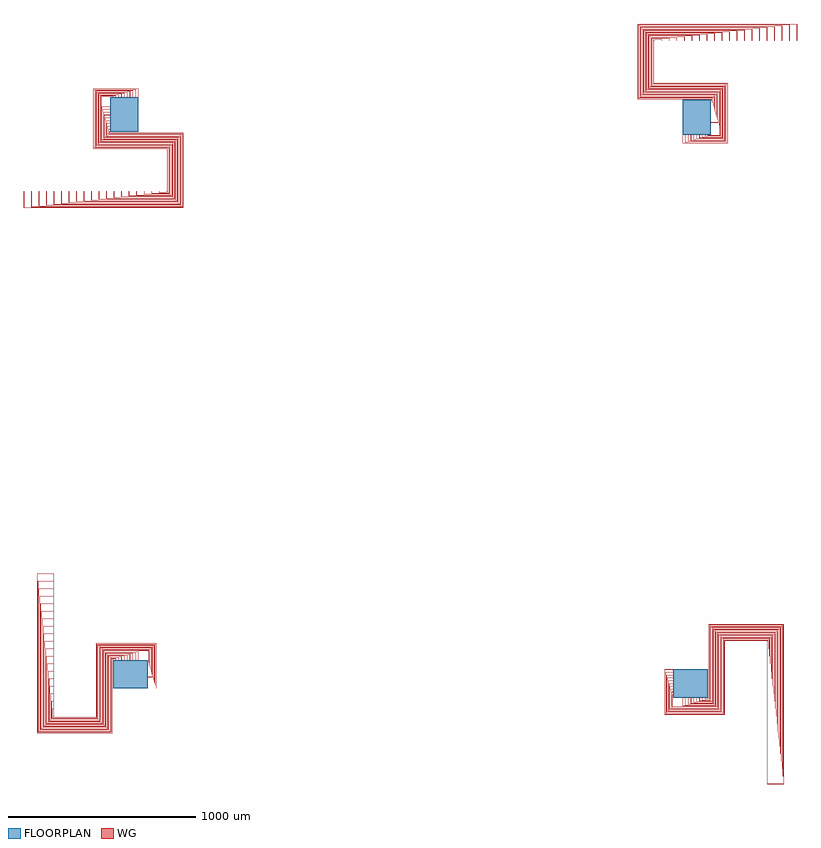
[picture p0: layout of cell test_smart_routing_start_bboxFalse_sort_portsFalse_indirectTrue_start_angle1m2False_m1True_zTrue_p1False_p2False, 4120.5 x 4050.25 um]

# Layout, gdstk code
import gdstk
lib = gdstk.Library(unit=1e-6, precision=1e-09)
def R(c, l, rs):  # rectangles x0, y0, x1, y1
    for r in rs: c.add(gdstk.rectangle(r[:2], r[2:], *l))
def P(c, l, *ps):  # polygons
    for p in ps: c.add(gdstk.Polygon(p, *l))
WG = (1, 0)
FLOORPLAN = (10, 0)

test_smart_routing_start = lib.new_cell('test_smart_routing_start_bboxFalse_sort_portsFalse_indirectTrue_start_angle1m2False_m1True_zTrue_p1False_p2False')
P(test_smart_routing_start, WG, [(-404.5,-204.75),(-404.5,-199.75),(-400,-199.75),(-400,-200.25),(-404,-200.25),(-404,-204.25),(-175.25,-204.25),(-175.25,190),(145,190),(145,-50.25),(100,-50.25),(100,-49.75),(144.5,-49.75),(144.5,189.5),(-174.75,189.5),(-174.75,-204.75)],
  [(-409,-209.25),(-409,-159.75),(-400,-159.75),(-400,-160.25),(-408.5,-160.25),(-408.5,-208.75),(-170.75,-208.75),(-170.75,185.5),(140.5,185.5),(140.5,-35.25),(100,-35.25),(100,-34.75),(140,-34.75),(140,185),(-170.25,185),(-170.25,-209.25)],
  [(-413.5,-213.75),(-413.5,-119.75),(-400,-119.75),(-400,-120.25),(-413,-120.25),(-413,-213.25),(-166.25,-213.25),(-166.25,181),(136,181),(136,-20.25),(100,-20.25),(100,-19.75),(135.5,-19.75),(135.5,180.5),(-165.75,180.5),(-165.75,-213.75)],
  [(-418,-218.25),(-418,-79.75),(-400,-79.75),(-400,-80.25),(-417.5,-80.25),(-417.5,-217.75),(-161.75,-217.75),(-161.75,176.5),(131.5,176.5),(131.5,-5.25),(100,-5.25),(100,-4.75),(131,-4.75),(131,176),(-161.25,176),(-161.25,-218.25)],
  [(-422.5,-222.75),(-422.5,-39.75),(-400,-39.75),(-400,-40.25),(-422,-40.25),(-422,-222.25),(-157.25,-222.25),(-157.25,172),(127,172),(127,9.75),(100,9.75),(100,10.25),(126.5,10.25),(126.5,171.5),(-156.75,171.5),(-156.75,-222.75)],
  [(-427,-227.25),(-427,0.25),(-400,0.25),(-400,-0.25),(-426.5,-0.25),(-426.5,-226.75),(-152.75,-226.75),(-152.75,167.5),(122.5,167.5),(122.5,24.75),(100,24.75),(100,25.25),(122,25.25),(122,167),(-152.25,167),(-152.25,-227.25)],
  [(-431.5,-231.75),(-431.5,40.25),(-400,40.25),(-400,39.75),(-431,39.75),(-431,-231.25),(-148.25,-231.25),(-148.25,163),(118,163),(118,39.75),(100,39.75),(100,40.25),(117.5,40.25),(117.5,162.5),(-147.75,162.5),(-147.75,-231.75)],
  [(-436,-236.25),(-436,80.25),(-400,80.25),(-400,79.75),(-435.5,79.75),(-435.5,-235.75),(-143.75,-235.75),(-143.75,158.5),(113.5,158.5),(113.5,54.75),(100,54.75),(100,55.25),(113,55.25),(113,158),(-143.25,158),(-143.25,-236.25)],
  [(-440.5,-240.75),(-440.5,120.25),(-400,120.25),(-400,119.75),(-440,119.75),(-440,-240.25),(-139.25,-240.25),(-139.25,154),(109,154),(109,69.75),(100,69.75),(100,70.25),(108.5,70.25),(108.5,153.5),(-138.75,153.5),(-138.75,-240.75)],
  [(-445,-245.25),(-445,160.25),(-400,160.25),(-400,159.75),(-444.5,159.75),(-444.5,-244.75),(-134.75,-244.75),(-134.75,149.5),(104.5,149.5),(104.5,84.75),(100,84.75),(100,85.25),(104,85.25),(104,149),(-134.25,149),(-134.25,-245.25)],
  [(-449.5,-249.75),(-449.5,200.25),(-400,200.25),(-400,199.75),(-449,199.75),(-449,-249.25),(-130.25,-249.25),(-130.25,145),(50.25,145),(50.25,100),(49.75,100),(49.75,144.5),(-129.75,144.5),(-129.75,-249.75)],
  [(-454,-254.25),(-454,240.25),(-400,240.25),(-400,239.75),(-453.5,239.75),(-453.5,-253.75),(-125.75,-253.75),(-125.75,140.5),(35.25,140.5),(35.25,100),(34.75,100),(34.75,140),(-125.25,140),(-125.25,-254.25)],
  [(-458.5,-258.75),(-458.5,280.25),(-400,280.25),(-400,279.75),(-458,279.75),(-458,-258.25),(-121.25,-258.25),(-121.25,136),(20.25,136),(20.25,100),(19.75,100),(19.75,135.5),(-120.75,135.5),(-120.75,-258.75)],
  [(-463,-263.25),(-463,320.25),(-400,320.25),(-400,319.75),(-462.5,319.75),(-462.5,-262.75),(-116.75,-262.75),(-116.75,131.5),(5.25,131.5),(5.25,100),(4.75,100),(4.75,131),(-116.25,131),(-116.25,-263.25)],
  [(-467.5,-267.75),(-467.5,360.25),(-400,360.25),(-400,359.75),(-467,359.75),(-467,-267.25),(-112.25,-267.25),(-112.25,127),(-9.75,127),(-9.75,100),(-10.25,100),(-10.25,126.5),(-111.75,126.5),(-111.75,-267.75)],
  [(-472,-272.25),(-472,400.25),(-400,400.25),(-400,399.75),(-471.5,399.75),(-471.5,-271.75),(-107.75,-271.75),(-107.75,122.5),(-24.75,122.5),(-24.75,100),(-25.25,100),(-25.25,122),(-107.25,122),(-107.25,-272.25)],
  [(-476.5,-276.75),(-476.5,440.25),(-400,440.25),(-400,439.75),(-476,439.75),(-476,-276.25),(-103.25,-276.25),(-103.25,118),(-39.75,118),(-39.75,100),(-40.25,100),(-40.25,117.5),(-102.75,117.5),(-102.75,-276.75)],
  [(-481,-281.25),(-481,480.25),(-400,480.25),(-400,479.75),(-480.5,479.75),(-480.5,-280.75),(-98.75,-280.75),(-98.75,113.5),(-54.75,113.5),(-54.75,100),(-55.25,100),(-55.25,113),(-98.25,113),(-98.25,-281.25)],
  [(-485.5,-285.75),(-485.5,520.25),(-400,520.25),(-400,519.75),(-485,519.75),(-485,-285.25),(-94.25,-285.25),(-94.25,109),(-69.75,109),(-69.75,100),(-70.25,100),(-70.25,108.5),(-93.75,108.5),(-93.75,-285.75)],
  [(-490,-290.25),(-490,560.25),(-400,560.25),(-400,559.75),(-489.5,559.75),(-489.5,-289.75),(-89.75,-289.75),(-89.75,104.5),(-84.75,104.5),(-84.75,100),(-85.25,100),(-85.25,104),(-89.25,104),(-89.25,-290.25)],
  [(199.75,2595.5),(199.75,2600),(200.25,2600),(200.25,2596),(204.25,2596),(204.25,2824.75),(-190,2824.75),(-190,3145),(50.25,3145),(50.25,3100),(49.75,3100),(49.75,3144.5),(-189.5,3144.5),(-189.5,2825.25),(204.75,2825.25),(204.75,2595.5)],
  [(159.75,2591),(159.75,2600),(160.25,2600),(160.25,2591.5),(208.75,2591.5),(208.75,2829.25),(-185.5,2829.25),(-185.5,3140.5),(35.25,3140.5),(35.25,3100),(34.75,3100),(34.75,3140),(-185,3140),(-185,2829.75),(209.25,2829.75),(209.25,2591)],
  [(119.75,2586.5),(119.75,2600),(120.25,2600),(120.25,2587),(213.25,2587),(213.25,2833.75),(-181,2833.75),(-181,3136),(20.25,3136),(20.25,3100),(19.75,3100),(19.75,3135.5),(-180.5,3135.5),(-180.5,2834.25),(213.75,2834.25),(213.75,2586.5)],
  [(79.75,2582),(79.75,2600),(80.25,2600),(80.25,2582.5),(217.75,2582.5),(217.75,2838.25),(-176.5,2838.25),(-176.5,3131.5),(5.25,3131.5),(5.25,3100),(4.75,3100),(4.75,3131),(-176,3131),(-176,2838.75),(218.25,2838.75),(218.25,2582)],
  [(39.75,2577.5),(39.75,2600),(40.25,2600),(40.25,2578),(222.25,2578),(222.25,2842.75),(-172,2842.75),(-172,3127),(-9.75,3127),(-9.75,3100),(-10.25,3100),(-10.25,3126.5),(-171.5,3126.5),(-171.5,2843.25),(222.75,2843.25),(222.75,2577.5)],
  [(-0.25,2573),(-0.25,2600),(0.25,2600),(0.25,2573.5),(226.75,2573.5),(226.75,2847.25),(-167.5,2847.25),(-167.5,3122.5),(-24.75,3122.5),(-24.75,3100),(-25.25,3100),(-25.25,3122),(-167,3122),(-167,2847.75),(227.25,2847.75),(227.25,2573)],
  [(-40.25,2568.5),(-40.25,2600),(-39.75,2600),(-39.75,2569),(231.25,2569),(231.25,2851.75),(-163,2851.75),(-163,3118),(-39.75,3118),(-39.75,3100),(-40.25,3100),(-40.25,3117.5),(-162.5,3117.5),(-162.5,2852.25),(231.75,2852.25),(231.75,2568.5)],
  [(-80.25,2564),(-80.25,2600),(-79.75,2600),(-79.75,2564.5),(235.75,2564.5),(235.75,2856.25),(-158.5,2856.25),(-158.5,3113.5),(-54.75,3113.5),(-54.75,3100),(-55.25,3100),(-55.25,3113),(-158,3113),(-158,2856.75),(236.25,2856.75),(236.25,2564)],
  [(-120.25,2559.5),(-120.25,2600),(-119.75,2600),(-119.75,2560),(240.25,2560),(240.25,2860.75),(-154,2860.75),(-154,3109),(-69.75,3109),(-69.75,3100),(-70.25,3100),(-70.25,3108.5),(-153.5,3108.5),(-153.5,2861.25),(240.75,2861.25),(240.75,2559.5)],
  [(-160.25,2555),(-160.25,2600),(-159.75,2600),(-159.75,2555.5),(244.75,2555.5),(244.75,2865.25),(-149.5,2865.25),(-149.5,3104.5),(-84.75,3104.5),(-84.75,3100),(-85.25,3100),(-85.25,3104),(-149,3104),(-149,2865.75),(245.25,2865.75),(245.25,2555)],
  [(-200.25,2550.5),(-200.25,2600),(-199.75,2600),(-199.75,2551),(249.25,2551),(249.25,2869.75),(-145,2869.75),(-145,3050.25),(-100,3050.25),(-100,3049.75),(-144.5,3049.75),(-144.5,2870.25),(249.75,2870.25),(249.75,2550.5)],
  [(-240.25,2546),(-240.25,2600),(-239.75,2600),(-239.75,2546.5),(253.75,2546.5),(253.75,2874.25),(-140.5,2874.25),(-140.5,3035.25),(-100,3035.25),(-100,3034.75),(-140,3034.75),(-140,2874.75),(254.25,2874.75),(254.25,2546)],
  [(-280.25,2541.5),(-280.25,2600),(-279.75,2600),(-279.75,2542),(258.25,2542),(258.25,2878.75),(-136,2878.75),(-136,3020.25),(-100,3020.25),(-100,3019.75),(-135.5,3019.75),(-135.5,2879.25),(258.75,2879.25),(258.75,2541.5)],
  [(-320.25,2537),(-320.25,2600),(-319.75,2600),(-319.75,2537.5),(262.75,2537.5),(262.75,2883.25),(-131.5,2883.25),(-131.5,3005.25),(-100,3005.25),(-100,3004.75),(-131,3004.75),(-131,2883.75),(263.25,2883.75),(263.25,2537)],
  [(-360.25,2532.5),(-360.25,2600),(-359.75,2600),(-359.75,2533),(267.25,2533),(267.25,2887.75),(-127,2887.75),(-127,2990.25),(-100,2990.25),(-100,2989.75),(-126.5,2989.75),(-126.5,2888.25),(267.75,2888.25),(267.75,2532.5)],
  [(-400.25,2528),(-400.25,2600),(-399.75,2600),(-399.75,2528.5),(271.75,2528.5),(271.75,2892.25),(-122.5,2892.25),(-122.5,2975.25),(-100,2975.25),(-100,2974.75),(-122,2974.75),(-122,2892.75),(272.25,2892.75),(272.25,2528)],
  [(-440.25,2523.5),(-440.25,2600),(-439.75,2600),(-439.75,2524),(276.25,2524),(276.25,2896.75),(-118,2896.75),(-118,2960.25),(-100,2960.25),(-100,2959.75),(-117.5,2959.75),(-117.5,2897.25),(276.75,2897.25),(276.75,2523.5)],
  [(-480.25,2519),(-480.25,2600),(-479.75,2600),(-479.75,2519.5),(280.75,2519.5),(280.75,2901.25),(-113.5,2901.25),(-113.5,2945.25),(-100,2945.25),(-100,2944.75),(-113,2944.75),(-113,2901.75),(281.25,2901.75),(281.25,2519)],
  [(-520.25,2514.5),(-520.25,2600),(-519.75,2600),(-519.75,2515),(285.25,2515),(285.25,2905.75),(-109,2905.75),(-109,2930.25),(-100,2930.25),(-100,2929.75),(-108.5,2929.75),(-108.5,2906.25),(285.75,2906.25),(285.75,2514.5)],
  [(-560.25,2510),(-560.25,2600),(-559.75,2600),(-559.75,2510.5),(289.75,2510.5),(289.75,2910.25),(-104.5,2910.25),(-104.5,2915.25),(-100,2915.25),(-100,2914.75),(-104,2914.75),(-104,2910.75),(290.25,2910.75),(290.25,2510)],
  [(2855,-190),(2855,50.25),(2900,50.25),(2900,49.75),(2855.5,49.75),(2855.5,-189.5),(3174.75,-189.5),(3174.75,204.75),(3404.5,204.75),(3404.5,199.75),(3400,199.75),(3400,200.25),(3404,200.25),(3404,204.25),(3175.25,204.25),(3175.25,-190)],
  [(2859.5,-185.5),(2859.5,35.25),(2900,35.25),(2900,34.75),(2860,34.75),(2860,-185),(3170.25,-185),(3170.25,209.25),(3409,209.25),(3409,159.75),(3400,159.75),(3400,160.25),(3408.5,160.25),(3408.5,208.75),(3170.75,208.75),(3170.75,-185.5)],
  [(2864,-181),(2864,20.25),(2900,20.25),(2900,19.75),(2864.5,19.75),(2864.5,-180.5),(3165.75,-180.5),(3165.75,213.75),(3413.5,213.75),(3413.5,119.75),(3400,119.75),(3400,120.25),(3413,120.25),(3413,213.25),(3166.25,213.25),(3166.25,-181)],
  [(2868.5,-176.5),(2868.5,5.25),(2900,5.25),(2900,4.75),(2869,4.75),(2869,-176),(3161.25,-176),(3161.25,218.25),(3418,218.25),(3418,79.75),(3400,79.75),(3400,80.25),(3417.5,80.25),(3417.5,217.75),(3161.75,217.75),(3161.75,-176.5)],
  [(2873,-172),(2873,-9.75),(2900,-9.75),(2900,-10.25),(2873.5,-10.25),(2873.5,-171.5),(3156.75,-171.5),(3156.75,222.75),(3422.5,222.75),(3422.5,39.75),(3400,39.75),(3400,40.25),(3422,40.25),(3422,222.25),(3157.25,222.25),(3157.25,-172)],
  [(2877.5,-167.5),(2877.5,-24.75),(2900,-24.75),(2900,-25.25),(2878,-25.25),(2878,-167),(3152.25,-167),(3152.25,227.25),(3427,227.25),(3427,-0.25),(3400,-0.25),(3400,0.25),(3426.5,0.25),(3426.5,226.75),(3152.75,226.75),(3152.75,-167.5)],
  [(2882,-163),(2882,-39.75),(2900,-39.75),(2900,-40.25),(2882.5,-40.25),(2882.5,-162.5),(3147.75,-162.5),(3147.75,231.75),(3431.5,231.75),(3431.5,-40.25),(3400,-40.25),(3400,-39.75),(3431,-39.75),(3431,231.25),(3148.25,231.25),(3148.25,-163)],
  [(2886.5,-158.5),(2886.5,-54.75),(2900,-54.75),(2900,-55.25),(2887,-55.25),(2887,-158),(3143.25,-158),(3143.25,236.25),(3436,236.25),(3436,-80.25),(3400,-80.25),(3400,-79.75),(3435.5,-79.75),(3435.5,235.75),(3143.75,235.75),(3143.75,-158.5)],
  [(2891,-154),(2891,-69.75),(2900,-69.75),(2900,-70.25),(2891.5,-70.25),(2891.5,-153.5),(3138.75,-153.5),(3138.75,240.75),(3440.5,240.75),(3440.5,-120.25),(3400,-120.25),(3400,-119.75),(3440,-119.75),(3440,240.25),(3139.25,240.25),(3139.25,-154)],
  [(3400,-160.25),(3400,-159.75),(3444.5,-159.75),(3444.5,244.75),(3134.75,244.75),(3134.75,-149.5),(2895.5,-149.5),(2895.5,-84.75),(2900,-84.75),(2900,-85.25),(2896,-85.25),(2896,-149),(3134.25,-149),(3134.25,245.25),(3445,245.25),(3445,-160.25)],
  [(3400,-200.25),(3400,-199.75),(3449,-199.75),(3449,249.25),(3130.25,249.25),(3130.25,-145),(2949.75,-145),(2949.75,-100),(2950.25,-100),(2950.25,-144.5),(3129.75,-144.5),(3129.75,249.75),(3449.5,249.75),(3449.5,-200.25)],
  [(3400,-240.25),(3400,-239.75),(3453.5,-239.75),(3453.5,253.75),(3125.75,253.75),(3125.75,-140.5),(2964.75,-140.5),(2964.75,-100),(2965.25,-100),(2965.25,-140),(3125.25,-140),(3125.25,254.25),(3454,254.25),(3454,-240.25)],
  [(3400,-280.25),(3400,-279.75),(3458,-279.75),(3458,258.25),(3121.25,258.25),(3121.25,-136),(2979.75,-136),(2979.75,-100),(2980.25,-100),(2980.25,-135.5),(3120.75,-135.5),(3120.75,258.75),(3458.5,258.75),(3458.5,-280.25)],
  [(3400,-320.25),(3400,-319.75),(3462.5,-319.75),(3462.5,262.75),(3116.75,262.75),(3116.75,-131.5),(2994.75,-131.5),(2994.75,-100),(2995.25,-100),(2995.25,-131),(3116.25,-131),(3116.25,263.25),(3463,263.25),(3463,-320.25)],
  [(3400,-360.25),(3400,-359.75),(3467,-359.75),(3467,267.25),(3112.25,267.25),(3112.25,-127),(3009.75,-127),(3009.75,-100),(3010.25,-100),(3010.25,-126.5),(3111.75,-126.5),(3111.75,267.75),(3467.5,267.75),(3467.5,-360.25)],
  [(3400,-400.25),(3400,-399.75),(3471.5,-399.75),(3471.5,271.75),(3107.75,271.75),(3107.75,-122.5),(3024.75,-122.5),(3024.75,-100),(3025.25,-100),(3025.25,-122),(3107.25,-122),(3107.25,272.25),(3472,272.25),(3472,-400.25)],
  [(3400,-440.25),(3400,-439.75),(3476,-439.75),(3476,276.25),(3103.25,276.25),(3103.25,-118),(3039.75,-118),(3039.75,-100),(3040.25,-100),(3040.25,-117.5),(3102.75,-117.5),(3102.75,276.75),(3476.5,276.75),(3476.5,-440.25)],
  [(3400,-480.25),(3400,-479.75),(3480.5,-479.75),(3480.5,280.75),(3098.75,280.75),(3098.75,-113.5),(3054.75,-113.5),(3054.75,-100),(3055.25,-100),(3055.25,-113),(3098.25,-113),(3098.25,281.25),(3481,281.25),(3481,-480.25)],
  [(3400,-520.25),(3400,-519.75),(3485,-519.75),(3485,285.25),(3094.25,285.25),(3094.25,-109),(3069.75,-109),(3069.75,-100),(3070.25,-100),(3070.25,-108.5),(3093.75,-108.5),(3093.75,285.75),(3485.5,285.75),(3485.5,-520.25)],
  [(3400,-560.25),(3400,-559.75),(3489.5,-559.75),(3489.5,289.75),(3089.75,289.75),(3089.75,-104.5),(3084.75,-104.5),(3084.75,-100),(3085.25,-100),(3085.25,-104),(3089.25,-104),(3089.25,290.25),(3490,290.25),(3490,-560.25)],
  [(2949.75,2855),(2949.75,2900),(2950.25,2900),(2950.25,2855.5),(3189.5,2855.5),(3189.5,3174.75),(2795.25,3174.75),(2795.25,3404.5),(2800.25,3404.5),(2800.25,3400),(2799.75,3400),(2799.75,3404),(2795.75,3404),(2795.75,3175.25),(3190,3175.25),(3190,2855)],
  [(2964.75,2859.5),(2964.75,2900),(2965.25,2900),(2965.25,2860),(3185,2860),(3185,3170.25),(2790.75,3170.25),(2790.75,3409),(2840.25,3409),(2840.25,3400),(2839.75,3400),(2839.75,3408.5),(2791.25,3408.5),(2791.25,3170.75),(3185.5,3170.75),(3185.5,2859.5)],
  [(2979.75,2864),(2979.75,2900),(2980.25,2900),(2980.25,2864.5),(3180.5,2864.5),(3180.5,3165.75),(2786.25,3165.75),(2786.25,3413.5),(2880.25,3413.5),(2880.25,3400),(2879.75,3400),(2879.75,3413),(2786.75,3413),(2786.75,3166.25),(3181,3166.25),(3181,2864)],
  [(2994.75,2868.5),(2994.75,2900),(2995.25,2900),(2995.25,2869),(3176,2869),(3176,3161.25),(2781.75,3161.25),(2781.75,3418),(2920.25,3418),(2920.25,3400),(2919.75,3400),(2919.75,3417.5),(2782.25,3417.5),(2782.25,3161.75),(3176.5,3161.75),(3176.5,2868.5)],
  [(3009.75,2873),(3009.75,2900),(3010.25,2900),(3010.25,2873.5),(3171.5,2873.5),(3171.5,3156.75),(2777.25,3156.75),(2777.25,3422.5),(2960.25,3422.5),(2960.25,3400),(2959.75,3400),(2959.75,3422),(2777.75,3422),(2777.75,3157.25),(3172,3157.25),(3172,2873)],
  [(3024.75,2877.5),(3024.75,2900),(3025.25,2900),(3025.25,2878),(3167,2878),(3167,3152.25),(2772.75,3152.25),(2772.75,3427),(3000.25,3427),(3000.25,3400),(2999.75,3400),(2999.75,3426.5),(2773.25,3426.5),(2773.25,3152.75),(3167.5,3152.75),(3167.5,2877.5)],
  [(3039.75,2882),(3039.75,2900),(3040.25,2900),(3040.25,2882.5),(3162.5,2882.5),(3162.5,3147.75),(2768.25,3147.75),(2768.25,3431.5),(3040.25,3431.5),(3040.25,3400),(3039.75,3400),(3039.75,3431),(2768.75,3431),(2768.75,3148.25),(3163,3148.25),(3163,2882)],
  [(3054.75,2886.5),(3054.75,2900),(3055.25,2900),(3055.25,2887),(3158,2887),(3158,3143.25),(2763.75,3143.25),(2763.75,3436),(3080.25,3436),(3080.25,3400),(3079.75,3400),(3079.75,3435.5),(2764.25,3435.5),(2764.25,3143.75),(3158.5,3143.75),(3158.5,2886.5)],
  [(3069.75,2891),(3069.75,2900),(3070.25,2900),(3070.25,2891.5),(3153.5,2891.5),(3153.5,3138.75),(2759.25,3138.75),(2759.25,3440.5),(3120.25,3440.5),(3120.25,3400),(3119.75,3400),(3119.75,3440),(2759.75,3440),(2759.75,3139.25),(3154,3139.25),(3154,2891)],
  [(3084.75,2895.5),(3084.75,2900),(3085.25,2900),(3085.25,2896),(3149,2896),(3149,3134.25),(2754.75,3134.25),(2754.75,3445),(3160.25,3445),(3160.25,3400),(3159.75,3400),(3159.75,3444.5),(2755.25,3444.5),(2755.25,3134.75),(3149.5,3134.75),(3149.5,2895.5)],
  [(3100,2949.75),(3100,2950.25),(3144.5,2950.25),(3144.5,3129.75),(2750.25,3129.75),(2750.25,3449.5),(3200.25,3449.5),(3200.25,3400),(3199.75,3400),(3199.75,3449),(2750.75,3449),(2750.75,3130.25),(3145,3130.25),(3145,2949.75)],
  [(3100,2964.75),(3100,2965.25),(3140,2965.25),(3140,3125.25),(2745.75,3125.25),(2745.75,3454),(3240.25,3454),(3240.25,3400),(3239.75,3400),(3239.75,3453.5),(2746.25,3453.5),(2746.25,3125.75),(3140.5,3125.75),(3140.5,2964.75)],
  [(3100,2979.75),(3100,2980.25),(3135.5,2980.25),(3135.5,3120.75),(2741.25,3120.75),(2741.25,3458.5),(3280.25,3458.5),(3280.25,3400),(3279.75,3400),(3279.75,3458),(2741.75,3458),(2741.75,3121.25),(3136,3121.25),(3136,2979.75)],
  [(3100,2994.75),(3100,2995.25),(3131,2995.25),(3131,3116.25),(2736.75,3116.25),(2736.75,3463),(3320.25,3463),(3320.25,3400),(3319.75,3400),(3319.75,3462.5),(2737.25,3462.5),(2737.25,3116.75),(3131.5,3116.75),(3131.5,2994.75)],
  [(3100,3009.75),(3100,3010.25),(3126.5,3010.25),(3126.5,3111.75),(2732.25,3111.75),(2732.25,3467.5),(3360.25,3467.5),(3360.25,3400),(3359.75,3400),(3359.75,3467),(2732.75,3467),(2732.75,3112.25),(3127,3112.25),(3127,3009.75)],
  [(3100,3024.75),(3100,3025.25),(3122,3025.25),(3122,3107.25),(2727.75,3107.25),(2727.75,3472),(3400.25,3472),(3400.25,3400),(3399.75,3400),(3399.75,3471.5),(2728.25,3471.5),(2728.25,3107.75),(3122.5,3107.75),(3122.5,3024.75)],
  [(3100,3039.75),(3100,3040.25),(3117.5,3040.25),(3117.5,3102.75),(2723.25,3102.75),(2723.25,3476.5),(3440.25,3476.5),(3440.25,3400),(3439.75,3400),(3439.75,3476),(2723.75,3476),(2723.75,3103.25),(3118,3103.25),(3118,3039.75)],
  [(3100,3054.75),(3100,3055.25),(3113,3055.25),(3113,3098.25),(2718.75,3098.25),(2718.75,3481),(3480.25,3481),(3480.25,3400),(3479.75,3400),(3479.75,3480.5),(2719.25,3480.5),(2719.25,3098.75),(3113.5,3098.75),(3113.5,3054.75)],
  [(3100,3069.75),(3100,3070.25),(3108.5,3070.25),(3108.5,3093.75),(2714.25,3093.75),(2714.25,3485.5),(3520.25,3485.5),(3520.25,3400),(3519.75,3400),(3519.75,3485),(2714.75,3485),(2714.75,3094.25),(3109,3094.25),(3109,3069.75)],
  [(3100,3084.75),(3100,3085.25),(3104,3085.25),(3104,3089.25),(2709.75,3089.25),(2709.75,3490),(3560.25,3490),(3560.25,3400),(3559.75,3400),(3559.75,3489.5),(2710.25,3489.5),(2710.25,3089.75),(3104.5,3089.75),(3104.5,3084.75)])
R(test_smart_routing_start, FLOORPLAN, [(2900,-100,3085,50), (-85,-50,100,100), (2950,2900,3100,3085), (-100,2915,50,3100)])
P(test_smart_routing_start, FLOORPLAN, [(-400,-200),(-400,560),(-400,560),(-400,-200)],
  [(-560,2600),(-560,2600),(200,2600),(200,2600)],
  [(3400,-560),(3400,200),(3400,200),(3400,-560)],
  [(2800,3400),(2800,3400),(3560,3400),(3560,3400)])

lib.write_gds('test_smart_routing_start_bboxFalse_sort_portsFalse_indirectTrue_start_angle1m2False_m1True_zTrue_p1False_p2False.gds')
